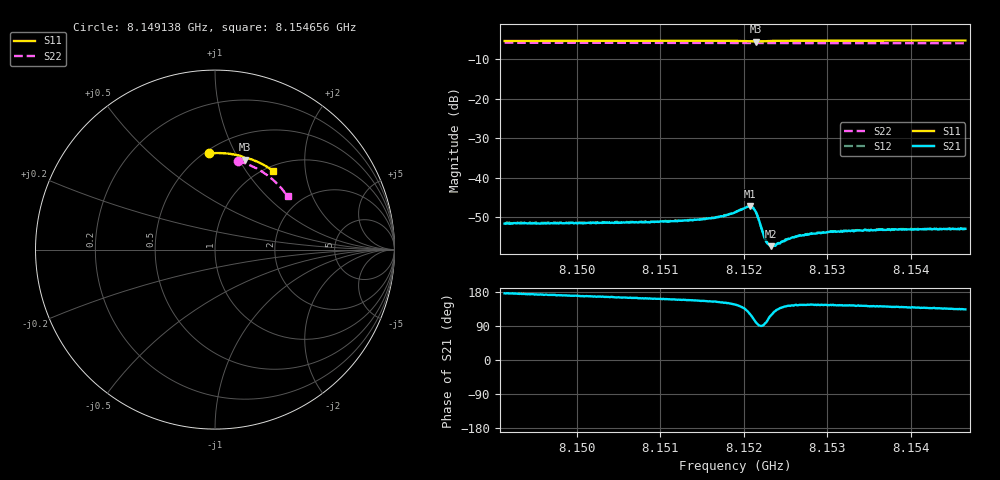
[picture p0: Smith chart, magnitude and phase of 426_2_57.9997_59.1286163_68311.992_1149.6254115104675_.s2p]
#  HZ  S  RI  R  50.00
! Rohde & Schwarz Vector Network Analyzer
! Rohde-Schwarz,ZNB20-2Port,1311601062101988,3.16
! Created: UTC 3/21/2024, 1:09:21 AM
! freq[Hz]  re:S11  im:S11  re:S21  im:S21  re:S12  im:S12  re:S22  im:S22
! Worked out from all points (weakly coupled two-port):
!   401 points, 8.149138 GHz to 8.154656 GHz, reference 50 ohm
!   highest |S21| = -47.32 dB at 8.152076 GHz (marker M1); lowest = -57.4 dB at 8.152325 GHz (marker M2)
!   lowest |S11| = -5.6 dB at 8.152145 GHz (marker M3), VSWR 3.24, Z = 38.1 + j52.9 ohm
!   |S11| at or under -10 dB: nowhere
!   |S22| runs from -6.0 to -5.8 dB; largest |S21 - S12| = 0.00012
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8.1491376e9  -0.0348 0.536  -0.0026 0.000184  -0.00261 0.000249  0.1254 0.4952
8.150062e9  0.0297 0.5378  -0.00259 0.000532  -0.00262 0.000579  0.1818 0.4761
8.1509864e9  0.0939 0.5319  -0.00259 0.000878  -0.00263 0.000912  0.2354 0.4505
8.1515383e9  0.1325 0.5242  -0.0027 0.00122  -0.00271 0.0013  0.2656 0.4324
8.1517728e9  0.1495 0.5193  -0.00286 0.00157  -0.00291 0.00165  0.2781 0.4239
8.151897e9  0.1588 0.5155  -0.00299 0.002  -0.00301 0.00205  0.2846 0.4193
8.152035e9  0.1681 0.5074  -0.00275 0.00316  -0.00275 0.00322  0.2915 0.4141
8.1520763e9  0.1688 0.5037  -0.00225 0.00367  -0.00222 0.00369  0.2935 0.4123
8.1521177e9  0.1675 0.5012  -0.00132 0.00384  -0.00127 0.00391  0.2954 0.4107
8.1521453e9  0.1658 0.5011  -0.000642 0.00363  -0.000609 0.00366  0.2966 0.4097
8.1521729e9  0.1649 0.5026  -0.000174 0.0031  -0.000148 0.00312  0.2981 0.4088
8.1522557e9  0.169 0.5077  -0.000191 0.00167  -0.000177 0.00171  0.3021 0.4058
8.1522833e9  0.1715 0.5085  -0.000342 0.00143  -0.000331 0.00146  0.3036 0.4048
8.1522971e9  0.1726 0.5087  -0.000457 0.00135  -0.000425 0.00135  0.3044 0.4044
8.1523247e9  0.1751 0.5088  -0.000612 0.0012  -0.000621 0.00125  0.3057 0.4032
8.1523661e9  0.1788 0.5089  -0.00083 0.00109  -0.000781 0.00114  0.3079 0.4016
8.1525316e9  0.1918 0.5061  -0.00133 0.000994  -0.00132 0.00103  0.3161 0.395
8.152642e9  0.1998 0.5036  -0.00146 0.00105  -0.00146 0.00106  0.3214 0.3904
8.1528214e9  0.2122 0.4993  -0.00161 0.00108  -0.00162 0.00113  0.33 0.3829
8.1530697e9  0.2285 0.4927  -0.00169 0.00115  -0.00168 0.00123  0.3414 0.372
8.1537458e9  0.2709 0.472  -0.0017 0.00138  -0.00168 0.00143  0.3707 0.3412
8.1546564e9  0.3243 0.4386  -0.00154 0.00162  -0.00154 0.00163  0.4058 0.2961
